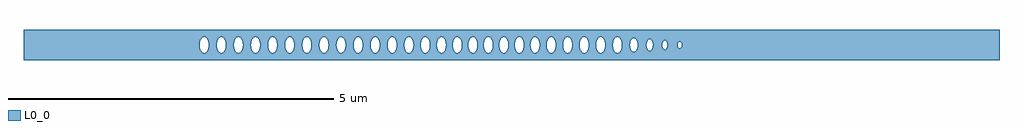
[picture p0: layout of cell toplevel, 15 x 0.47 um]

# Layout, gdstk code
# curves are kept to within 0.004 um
import gdstk
lib = gdstk.Library(unit=1e-6, precision=1e-09)
def P(c, l, *ps):  # polygons
    for p in ps: c.add(gdstk.Polygon(p, *l))
L0_0 = (0, 0)

toplevel = lib.new_cell('toplevel')
P(toplevel, L0_0, [(-4.245,-0.235),(-4.245,-0.09),(-4.259,-0.06),(-4.267,-0.016),(-4.261,0.053),(-4.245,0.09),(-4.245,0.235),(-7.5,0.235),(-7.5,-0.016),(-4.793,-0.016),(-4.79,0.038),(-4.78,0.073),(-4.757,0.109),(-4.727,0.124),(-4.701,0.118),(-4.671,0.085),(-4.654,0.031),(-4.653,-0.016),(-4.53,-0.016),(-4.527,0.038),(-4.517,0.073),(-4.494,0.109),(-4.464,0.124),(-4.438,0.118),(-4.411,0.09),(-4.394,0.046),(-4.389,0.008),(-4.391,-0.031),(-4.405,-0.079),(-4.426,-0.109),(-4.455,-0.124),(-4.481,-0.118),(-4.505,-0.096),(-4.517,-0.073),(-4.53,-0.016),(-4.653,-0.016),(-4.657,-0.046),(-4.674,-0.09),(-4.689,-0.109),(-4.718,-0.124),(-4.744,-0.118),(-4.768,-0.096),(-4.78,-0.073),(-4.793,-0.016),(-7.5,-0.016),(-7.5,-0.235)],
  [(-4.238,0.1),(-4.219,0.118),(-4.201,0.124),(-4.179,0.12),(-4.159,0.105),(-4.145,0.085),(-4.131,0.046),(-4.127,-0.016),(-4.004,-0.016),(-3.998,0.053),(-3.979,0.096),(-3.956,0.118),(-3.921,0.122),(-3.896,0.105),(-3.877,0.073),(-3.863,0),(-3.868,-0.046),(-3.883,-0.085),(-3.9,-0.109),(-3.929,-0.124),(-3.956,-0.118),(-3.979,-0.096),(-3.996,-0.06),(-4.004,-0.016),(-4.127,-0.016),(-4.145,-0.085),(-4.175,-0.118),(-4.192,-0.124),(-4.21,-0.122),(-4.231,-0.109),(-4.245,-0.09),(-4.245,-0.235),(-3.662,-0.235),(-3.662,-0.123),(-3.693,-0.118),(-3.716,-0.096),(-3.733,-0.06),(-3.741,-0.016),(-3.735,0.053),(-3.716,0.096),(-3.693,0.118),(-3.662,0.123),(-3.662,0.235),(-4.245,0.235),(-4.245,0.09)],
  [(-3.602,-0.023),(-3.609,-0.06),(-3.626,-0.096),(-3.662,-0.123),(-3.662,-0.235),(-3.086,-0.235),(-3.086,-0.067),(-3.1,-0.096),(-3.123,-0.118),(-3.141,-0.124),(-3.167,-0.118),(-3.19,-0.096),(-3.205,-0.066),(-3.216,0),(-3.205,0.066),(-3.19,0.096),(-3.167,0.118),(-3.15,0.124),(-3.123,0.118),(-3.1,0.096),(-3.086,0.066),(-3.086,0.235),(-3.662,0.235),(-3.662,0.123),(-3.633,0.105),(-3.614,0.073),(-3.605,0.046),(-3.601,0),(-3.479,0),(-3.474,0.046),(-3.459,0.085),(-3.442,0.109),(-3.417,0.123),(-3.395,0.122),(-3.374,0.109),(-3.344,0.053),(-3.338,-0.016),(-3.346,-0.06),(-3.37,-0.105),(-3.395,-0.122),(-3.426,-0.12),(-3.453,-0.096),(-3.474,-0.046),(-3.479,0),(-3.601,0)],
  [(-3.076,-0.023),(-3.086,-0.066),(-3.086,-0.235),(-2.427,-0.235),(-2.427,0.235),(-3.086,0.235),(-3.086,0.066),(-3.075,-0.008),(-2.953,-0.008),(-2.948,0.046),(-2.937,0.079),(-2.916,0.109),(-2.887,0.124),(-2.86,0.118),(-2.837,0.096),(-2.818,0.053),(-2.812,-0.008),(-2.69,-0.008),(-2.685,0.046),(-2.661,0.1),(-2.641,0.118),(-2.624,0.124),(-2.593,0.115),(-2.574,0.096),(-2.562,0.073),(-2.552,0.038),(-2.549,-0.016),(-2.568,-0.085),(-2.585,-0.109),(-2.606,-0.122),(-2.633,-0.122),(-2.664,-0.096),(-2.681,-0.06),(-2.69,-0.008),(-2.812,-0.008),(-2.818,-0.053),(-2.837,-0.096),(-2.86,-0.118),(-2.878,-0.124),(-2.904,-0.118),(-2.927,-0.096),(-2.944,-0.06),(-2.953,-0.008),(-3.075,-0.008)],
  [(-2.426,0.023),(-2.416,0.066),(-2.401,0.096),(-2.378,0.118),(-2.352,0.124),(-2.322,0.109),(-2.299,0.073),(-2.289,0.038),(-2.286,-0.016),(-2.164,-0.016),(-2.16,0.046),(-2.139,0.096),(-2.107,0.122),(-2.076,0.12),(-2.056,0.105),(-2.043,0.085),(-2.03,0.053),(-2.024,0.016),(-2.03,-0.053),(-2.056,-0.105),(-2.09,-0.124),(-2.107,-0.122),(-2.128,-0.109),(-2.154,-0.066),(-2.164,-0.016),(-2.286,-0.016),(-2.299,-0.073),(-2.311,-0.096),(-2.343,-0.122),(-2.37,-0.122),(-2.39,-0.109),(-2.408,-0.085),(-2.422,-0.046),(-2.427,-0.008),(-2.427,-0.235),(-1.871,-0.235),(-1.871,-0.105),(-1.891,-0.073),(-1.904,-0.016),(-1.899,0.046),(-1.891,0.073),(-1.871,0.105),(-1.871,0.235),(-2.427,0.235)],
  [(-1.394,0.016),(-1.384,0.066),(-1.362,0.105),(-1.329,0.124),(-1.298,0.115),(-1.298,0.235),(-1.871,0.235),(-1.871,0.105),(-1.838,0.124),(-1.82,0.122),(-1.796,0.105),(-1.779,0.079),(-1.768,0.046),(-1.764,-0.016),(-1.647,-0.016),(-1.644,0.038),(-1.634,0.073),(-1.611,0.109),(-1.581,0.124),(-1.555,0.118),(-1.532,0.096),(-1.515,0.06),(-1.506,0.008),(-1.511,-0.046),(-1.525,-0.085),(-1.543,-0.109),(-1.572,-0.124),(-1.599,-0.118),(-1.622,-0.096),(-1.639,-0.06),(-1.647,-0.016),(-1.764,-0.016),(-1.779,-0.079),(-1.8,-0.109),(-1.82,-0.122),(-1.838,-0.124),(-1.871,-0.105),(-1.871,-0.235),(-1.298,-0.235),(-1.298,-0.115),(-1.32,-0.124),(-1.338,-0.122),(-1.369,-0.096),(-1.39,-0.046)],
  [(-0.903,0.016),(-0.899,0.046),(-0.882,0.09),(-0.867,0.109),(-0.838,0.124),(-0.812,0.118),(-0.788,0.096),(-0.776,0.073),(-0.764,0.023),(-0.764,0.235),(-1.298,0.235),(-1.298,0.115),(-1.279,0.096),(-1.267,0.073),(-1.257,0.038),(-1.254,-0.016),(-1.147,-0.016),(-1.144,0.038),(-1.134,0.073),(-1.111,0.109),(-1.081,0.124),(-1.055,0.118),(-1.028,0.09),(-1.011,0.046),(-1.006,0.008),(-1.008,-0.031),(-1.022,-0.079),(-1.043,-0.109),(-1.072,-0.124),(-1.098,-0.118),(-1.122,-0.096),(-1.134,-0.073),(-1.147,-0.016),(-1.254,-0.016),(-1.267,-0.073),(-1.279,-0.096),(-1.298,-0.115),(-1.298,-0.235),(-0.764,-0.235),(-0.764,-0.026),(-0.776,-0.073),(-0.799,-0.109),(-0.82,-0.122),(-0.847,-0.122),(-0.871,-0.105),(-0.888,-0.079),(-0.902,-0.031)],
  [(-0.764,-0.235),(-0.17,-0.235),(-0.17,-0.085),(-0.189,-0.016),(-0.186,0.038),(-0.17,0.085),(-0.17,0.235),(-0.764,0.235),(-0.763,-0.016),(-0.664,-0.016),(-0.661,0.038),(-0.651,0.073),(-0.628,0.109),(-0.598,0.124),(-0.572,0.118),(-0.542,0.085),(-0.525,0.031),(-0.524,-0.016),(-0.426,-0.016),(-0.423,0.038),(-0.413,0.073),(-0.39,0.109),(-0.36,0.124),(-0.334,0.118),(-0.304,0.085),(-0.29,0.046),(-0.285,0),(-0.29,-0.046),(-0.304,-0.085),(-0.322,-0.109),(-0.351,-0.124),(-0.378,-0.118),(-0.401,-0.096),(-0.418,-0.06),(-0.426,-0.016),(-0.524,-0.016),(-0.528,-0.046),(-0.545,-0.09),(-0.56,-0.109),(-0.589,-0.124),(-0.615,-0.118),(-0.639,-0.096),(-0.651,-0.073),(-0.664,-0.016),(-0.763,-0.016)],
  [(-0.164,0.096),(-0.132,0.122),(-0.105,0.122),(-0.081,0.105),(-0.064,0.079),(-0.053,0.046),(-0.048,0),(0.049,0),(0.054,0.046),(0.075,0.096),(0.102,0.12),(0.133,0.122),(0.158,0.105),(0.177,0.073),(0.187,0.038),(0.19,-0.016),(0.182,-0.06),(0.165,-0.096),(0.142,-0.118),(0.115,-0.124),(0.086,-0.109),(0.069,-0.085),(0.054,-0.046),(0.049,0),(-0.048,0),(-0.053,-0.046),(-0.064,-0.079),(-0.097,-0.118),(-0.114,-0.124),(-0.132,-0.122),(-0.153,-0.109),(-0.17,-0.085),(-0.17,-0.235),(0.354,-0.235),(0.354,-0.123),(0.329,-0.109),(0.311,-0.085),(0.297,-0.046),(0.292,-0.008),(0.294,0.031),(0.308,0.079),(0.329,0.109),(0.354,0.123),(0.354,0.235),(-0.17,0.235),(-0.17,0.085)],
  [(0.367,0.124),(0.393,0.112),(0.414,0.085),(0.43,0.038),(0.433,0),(0.54,0),(0.549,0.06),(0.569,0.1),(0.598,0.122),(0.633,0.118),(0.656,0.096),(0.673,0.06),(0.681,-0.016),(0.673,-0.06),(0.656,-0.096),(0.633,-0.118),(0.606,-0.124),(0.577,-0.109),(0.559,-0.085),(0.545,-0.046),(0.54,0),(0.433,0),(0.43,-0.038),(0.411,-0.09),(0.384,-0.118),(0.354,-0.123),(0.354,-0.235),(0.915,-0.235),(0.915,-0.085),(0.881,-0.12),(0.859,-0.124),(0.841,-0.118),(0.818,-0.096),(0.806,-0.073),(0.793,-0.016),(0.802,0.06),(0.829,0.109),(0.85,0.122),(0.876,0.122),(0.897,0.109),(0.915,0.085),(0.915,0.235),(0.354,0.235),(0.354,0.123)],
  [(0.932,-0.031),(0.915,-0.085),(0.915,-0.235),(1.558,-0.235),(1.558,0.235),(0.915,0.235),(0.915,0.085),(0.932,0.031),(0.933,-0.016),(1.047,-0.016),(1.057,0.066),(1.079,0.105),(1.104,0.122),(1.135,0.12),(1.162,0.096),(1.181,0.053),(1.187,-0.008),(1.3,-0.008),(1.309,0.06),(1.333,0.105),(1.366,0.124),(1.384,0.122),(1.405,0.109),(1.432,0.06),(1.441,-0.016),(1.422,-0.085),(1.405,-0.109),(1.384,-0.122),(1.357,-0.122),(1.326,-0.096),(1.309,-0.06),(1.3,-0.008),(1.187,-0.008),(1.181,-0.053),(1.162,-0.096),(1.139,-0.118),(1.121,-0.124),(1.095,-0.118),(1.072,-0.096),(1.055,-0.06),(1.047,-0.016),(0.933,-0.016)],
  [(1.559,0.031),(1.567,0.066),(1.582,0.096),(1.605,0.118),(1.631,0.124),(1.661,0.109),(1.678,0.085),(1.691,0.053),(1.697,0),(1.82,0),(1.834,0.068),(1.855,0.096),(1.881,0.107),(1.907,0.096),(1.928,0.068),(1.942,0),(1.928,-0.068),(1.907,-0.096),(1.881,-0.107),(1.855,-0.096),(1.834,-0.068),(1.82,0),(1.697,0),(1.691,-0.053),(1.678,-0.085),(1.661,-0.109),(1.631,-0.124),(1.605,-0.118),(1.582,-0.096),(1.567,-0.066),(1.558,-0.026),(1.558,-0.235),(2.103,-0.235),(2.103,-0.081),(2.085,-0.057),(2.074,-0.011),(2.08,0.043),(2.103,0.081),(2.103,0.235),(1.558,0.235)],
  [(2.112,0.086),(2.134,0.088),(2.157,0.069),(2.172,0.033),(2.174,-0.013),(2.317,-0.013),(2.324,0.042),(2.342,0.067),(2.355,0.072),(2.375,0.065),(2.389,0.046),(2.397,-0.01),(2.553,-0.01),(2.558,0.032),(2.58,0.054),(2.593,0.052),(2.606,0.037),(2.614,-0.01),(2.602,-0.044),(2.587,-0.054),(2.565,-0.044),(2.553,-0.01),(2.397,-0.01),(2.389,-0.046),(2.375,-0.065),(2.36,-0.072),(2.333,-0.058),(2.317,-0.013),(2.174,-0.013),(2.164,-0.057),(2.146,-0.081),(2.128,-0.089),(2.103,-0.081),(2.103,-0.235),(7.5,-0.235),(7.5,0.235),(2.103,0.235),(2.103,0.081)])

lib.write_gds('toplevel.gds')
